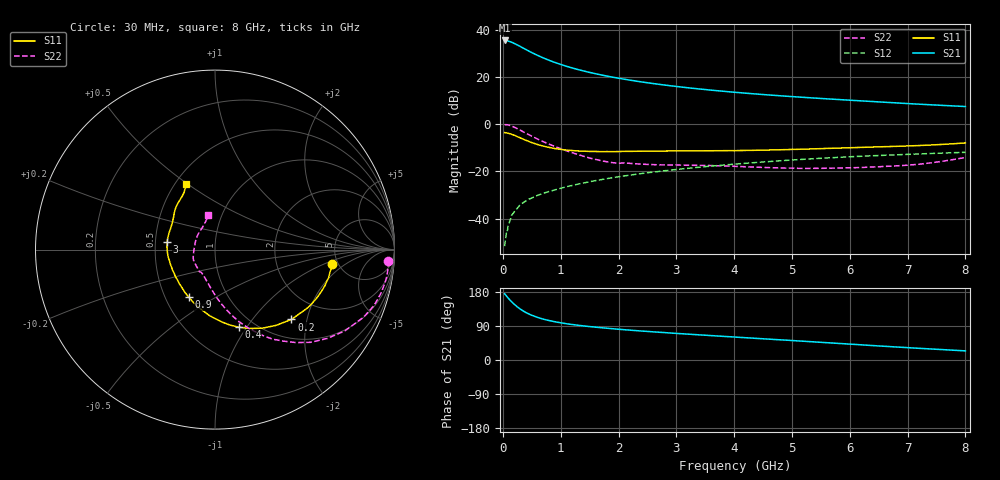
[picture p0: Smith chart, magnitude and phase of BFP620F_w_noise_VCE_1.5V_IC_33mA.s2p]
! Infineon Technologies  Discrete & RF Semiconductors
! BFP620F
! VCE =  1.5 V,  IC =  33 mA
! Common Emitter S-Parameters:  Dec 2014
# GHz  S  MA  R  50
!  f  S11  S21  S12  S22
! GHz  MAG  ANG  MAG  ANG  MAG  ANG  MAG  ANG
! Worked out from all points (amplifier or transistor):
!   95 points, 30 MHz to 8 GHz, reference 50 ohm
!   highest |S21| = 35.4 dB at 30 MHz (marker M1)
!   |S21| within 3 dB of that: start of sweep to 334.3 MHz
!   unconditionally stable (mu >= 1): 2.389 GHz to end of sweep
!   at 300 MHz: K = 0.39, MSG = 33.5 dB, |S12| = -34.1 dB
!   at 3.3 GHz: K = 1.02, MAG = 15.9 dB, |S12| = -18.5 dB
!   at 8 GHz: K = 1.06, MAG = 8.3 dB, |S12| = -12.0 dB
!   lowest NFmin = 1.20 dB at 450 MHz
!   S11 on the Smith chart (normalised r, x): 30 MHz: 4.50, -1.26; 200 MHz: 1.39, -1.62; 400 MHz: 0.85, -0.92; 900 MHz: 0.66, -0.38; 3 GHz: 0.58, +0.06; 8 GHz: 0.57, +0.49
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0.03  0.659 -6.9  58.75 174.7  0.0026 85.6  0.967 -3.7
0.07  0.6475 -15.7  58.05 167.4  0.0048 91.8  0.9651 -11.0
0.12  0.6242 -26.8  55.59 158.6  0.0089 81.6  0.9353 -19.9
0.15  0.6073 -32.8  53.94 153.9  0.0116 77.7  0.9076 -24.7
0.2  0.5768 -42.4  50.59 146.6  0.014 73.5  0.8539 -32.0
0.25  0.5424 -51.1  47.21 140.1  0.0165 70.7  0.7973 -38.4
0.3  0.5109 -59.0  43.86 134.5  0.0197 69.8  0.7422 -44.1
0.35  0.4798 -66.3  40.59 129.6  0.0216 67.8  0.6874 -48.9
0.4  0.4516 -73.1  37.69 125.1  0.0236 66.5  0.6369 -53.2
0.5  0.405 -84.6  32.56 118.1  0.0272 64.8  0.5521 -60.6
0.6  0.3687 -94.9  28.4 112.4  0.031 64.3  0.4809 -66.5
0.7  0.3405 -103.6  25.08 107.8  0.0343 64.1  0.4232 -71.6
0.9  0.3027 -118.6  20.12 100.9  0.0404 63.9  0.3351 -79.9
1.1  0.2805 -131.1  16.7 95.7  0.0471 63.8  0.2717 -87.4
1.4  0.2665 -146.1  13.26 89.9  0.0567 63.8  0.2075 -98.0
2  0.2617 -167.6  9.332 81.2  0.0766 62.4  0.1476 -121.4
2.7  0.2683 176.2  6.93 73.3  0.0993 59.3  0.137 -141.0
3  0.2696 170.4  6.246 70.2  0.1092 57.7  0.1361 -147.1
4.1  0.2751 153.6  4.605 59.7  0.1446 51.4  0.1261 -163.4
5.4  0.2992 139.9  3.542 47.6  0.1853 42.6  0.1156 168.1
6.7  0.3343 127.1  2.848 35.3  0.2206 33.0  0.1283 135.6
8  0.3983 114.1  2.348 24.0  0.252 23.7  0.196 100.7
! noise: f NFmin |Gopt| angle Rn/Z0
0.45  1.2  0.08  -172  0.17
0.9  1.23  0.09  -171  0.13
1.5  1.24  0.14  -149  0.13
1.8  1.25  0.14  -148  0.14
1.9  1.26  0.15  -148  0.14
2.4  1.28  0.15  215  0.16
3.5  1.34  0.16  -140  0.18
5.5  1.49  0.23  243  0.14
6  1.53  0.24  260  0.17
